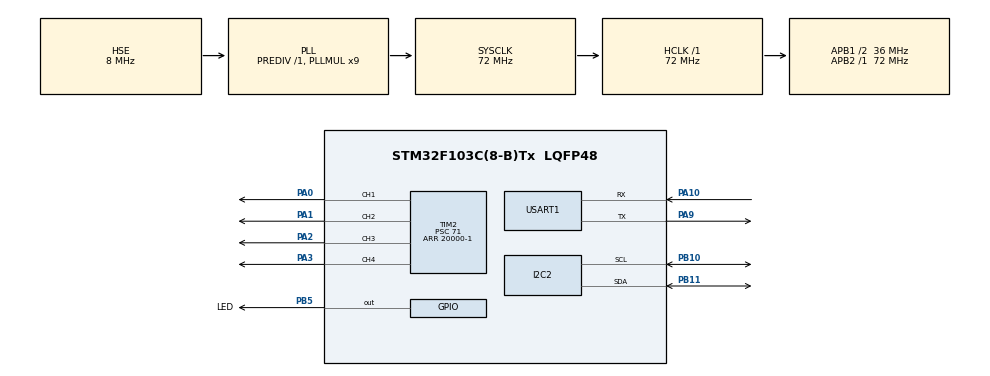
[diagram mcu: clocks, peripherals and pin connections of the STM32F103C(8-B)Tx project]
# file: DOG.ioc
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Dma.Request0=USART1_TX
Dma.Request1=USART1_RX
Dma.USART1_RX.1.Direction=DMA_PERIPH_TO_MEMORY
Dma.USART1_RX.1.Instance=DMA1_Channel5
Dma.USART1_RX.1.MemDataAlignment=DMA_MDATAALIGN_BYTE
Dma.USART1_RX.1.MemInc=DMA_MINC_ENABLE
Dma.USART1_RX.1.Mode=DMA_NORMAL
Dma.USART1_RX.1.PeriphDataAlignment=DMA_PDATAALIGN_BYTE
Dma.USART1_RX.1.PeriphInc=DMA_PINC_DISABLE
Dma.USART1_RX.1.Priority=DMA_PRIORITY_LOW
Dma.USART1_TX.0.Direction=DMA_MEMORY_TO_PERIPH
Dma.USART1_TX.0.Instance=DMA1_Channel4
Dma.USART1_TX.0.MemDataAlignment=DMA_MDATAALIGN_BYTE
Dma.USART1_TX.0.MemInc=DMA_MINC_ENABLE
Dma.USART1_TX.0.Mode=DMA_NORMAL
Dma.USART1_TX.0.PeriphDataAlignment=DMA_PDATAALIGN_BYTE
Dma.USART1_TX.0.PeriphInc=DMA_PINC_DISABLE
Dma.USART1_TX.0.Priority=DMA_PRIORITY_LOW
Mcu.Family=STM32F1
Mcu.Name=STM32F103C(8-B)Tx
Mcu.Package=LQFP48
NVIC.DMA1_Channel4_IRQn=true\:0\:0\:false\:false\:true\:false\:true\:true
NVIC.DMA1_Channel5_IRQn=true\:0\:0\:false\:false\:true\:false\:true\:true
NVIC.PriorityGroup=NVIC_PRIORITYGROUP_4
NVIC.USART1_IRQn=true\:0\:0\:false\:false\:true\:true\:true\:true
PA0-WKUP.Signal=S_TIM2_CH1_ETR
PA1.Signal=S_TIM2_CH2
PA10.Mode=Asynchronous
PA10.Signal=USART1_RX
PA13.Mode=Serial_Wire
PA13.Signal=SYS_JTMS-SWDIO
PA14.Mode=Serial_Wire
PA14.Signal=SYS_JTCK-SWCLK
PA2.Signal=S_TIM2_CH3
PA3.Signal=S_TIM2_CH4
PA9.Mode=Asynchronous
PA9.Signal=USART1_TX
PB10.Mode=I2C
PB10.Signal=I2C2_SCL
PB11.Mode=I2C
PB11.Signal=I2C2_SDA
PB5.GPIO_Label=LED
PB5.Signal=GPIO_Output
PD0-OSC_IN.Mode=HSE-External-Oscillator
PD0-OSC_IN.Signal=RCC_OSC_IN
PD1-OSC_OUT.Mode=HSE-External-Oscillator
PD1-OSC_OUT.Signal=RCC_OSC_OUT
ProjectManager.HeapSize=0x200
ProjectManager.StackSize=0x400
ProjectManager.TargetToolchain=MDK-ARM V5.32
RCC.AHBFreq_Value=72000000
RCC.APB1CLKDivider=RCC_HCLK_DIV2
RCC.APB1Freq_Value=36000000
RCC.APB1TimFreq_Value=72000000
RCC.APB2Freq_Value=72000000
RCC.APB2TimFreq_Value=72000000
RCC.HCLKFreq_Value=72000000
RCC.PLLMUL=RCC_PLL_MUL9
RCC.PLLSourceVirtual=RCC_PLLSOURCE_HSE
RCC.SYSCLKFreq_VALUE=72000000
RCC.SYSCLKSource=RCC_SYSCLKSOURCE_PLLCLK
RCC.USBFreq_Value=72000000
SH.S_TIM2_CH1_ETR.0=TIM2_CH1,PWM Generation1 CH1
SH.S_TIM2_CH2.0=TIM2_CH2,PWM Generation2 CH2
SH.S_TIM2_CH3.0=TIM2_CH3,PWM Generation3 CH3
SH.S_TIM2_CH4.0=TIM2_CH4,PWM Generation4 CH4
TIM2.Channel-PWM\ Generation1\ CH1=TIM_CHANNEL_1
TIM2.Channel-PWM\ Generation2\ CH2=TIM_CHANNEL_2
TIM2.Channel-PWM\ Generation3\ CH3=TIM_CHANNEL_3
TIM2.Channel-PWM\ Generation4\ CH4=TIM_CHANNEL_4
TIM2.Period=20000-1
TIM2.Prescaler=71
TIM2.Pulse-PWM\ Generation1\ CH1=50
TIM2.Pulse-PWM\ Generation2\ CH2=50
TIM2.Pulse-PWM\ Generation3\ CH3=50
TIM2.Pulse-PWM\ Generation4\ CH4=50
USART1.VirtualMode=VM_ASYNC
VP_TIM2_VS_ClockSourceINT.Mode=Internal
VP_TIM2_VS_ClockSourceITR.Mode=TriggerSource_ITR0
board=custom

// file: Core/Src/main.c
/* USER CODE BEGIN Header */
/**
  ******************************************************************************
  * @file           : main.c
  * @brief          : Main program body
  ******************************************************************************
  * @attention
  *
  * Copyright (c) 2024 STMicroelectronics.
  * All rights reserved.
  *
  * This software is licensed under terms that can be found in the LICENSE file
  * in the root directory of this software component.
  * If no LICENSE file comes with this software, it is provided AS-IS.
  *
  ******************************************************************************
  */
/* USER CODE END Header */
#include "main.h"
#include "dma.h"
#include "i2c.h"
#include "tim.h"
#include "usart.h"
#include "gpio.h"

/* USER CODE BEGIN Includes */
#include "stdio.h"
#include "string.h"
#include "stdlib.h"
#include "math.h"
#include "oled.h"
/* USER CODE END Includes */

/* USER CODE BEGIN PV */

uint8_t move_mode = 0 ;
uint8_t flag = 0;
#define move_delay 400
#define move_speed 4
#define MyMap(x,in_min,in_max,out_min,out_max) (x-in_min)*(out_max-out_min)/(in_max-in_min)+out_min
void Rbt_Init(void);
uint16_t angle(uint8_t angle);
void Rbt_attention(void);
void move_forward(void);
void move_behind(void);
void move_right(void);
void move_left(void);
void move_swing(void);
void move_stretch(void);
void move_sleep(void);
void move_dance(void);
void OLED_Init(void);

/* USER CODE END PV */

void SystemClock_Config(void);
/* USER CODE BEGIN PFP */
uint16_t angle(uint8_t angle)
{
  return (MyMap(angle,0,180.f,0.025f,0.125f))*TIM2->ARR;
}

void Change_Mode(uint8_t mode)

{
	move_mode = mode;
	if(move_mode == 3 || move_mode == '3')
	 {//前进
		//OLED_DrawBMP(0,0,128,8,BMP2);
		  move_forward();
		  HAL_GPIO_TogglePin(LED_GPIO_Port, LED_Pin);
		  flag=0;
		OLED_NewFrame();
    	OLED_DrawImage(0, 0, &normalImg, OLED_COLOR_NORMAL);
    	OLED_ShowFrame();
	  }
	  else if(move_mode == 4 || move_mode == '4')
	  {//后�??
		//   OLED_DrawBMP(0,0,128,8,BMP2);
		  move_behind();
		  HAL_GPIO_TogglePin(LED_GPIO_Port, LED_Pin);
		  flag=0;
		  OLED_NewFrame();
    	  OLED_DrawImage(0, 0, &normalImg, OLED_COLOR_NORMAL);
    	  OLED_ShowFrame();
	  }
	  else if(move_mode == 6 || move_mode == '6')
	  {//左转
		  move_left();
		  HAL_GPIO_TogglePin(LED_GPIO_Port, LED_Pin);
		  flag=0;
		  OLED_NewFrame();
    	  OLED_DrawImage(0, 0, &leftlookImg, OLED_COLOR_NORMAL);
    	  OLED_ShowFrame();
	  }
	  else if(move_mode == 5 || move_mode == '5')
	  {//右转
		//OLED_DrawBMP(0,0,128,8,BMP3);
		  move_right();
		  HAL_GPIO_TogglePin(LED_GPIO_Port, LED_Pin);
		  flag=0;
		  OLED_NewFrame();
    	  OLED_DrawImage(0, 0, &rightlookImg, OLED_COLOR_NORMAL);
    	  OLED_ShowFrame();
	  }
	  else if(move_mode == 2 || move_mode == '2')
	  {//立正
		//OLED_DrawBMP(0,0,128,8,BMP1);
          Rbt_attention();
		  HAL_GPIO_TogglePin(LED_GPIO_Port, LED_Pin);
		  flag=0;
	  }
	  else if(move_mode == 7 || move_mode == '7')
	  {//摇摆
		//   OLED_DrawBMP(0,0,128,8,BMP2);
		  move_swing();
		  HAL_GPIO_TogglePin(LED_GPIO_Port, LED_Pin);
		  flag=0;
	  }
	  else if(move_mode == '8' || move_mode == 8)
	  {//坐下招手
		  if(flag==0)
		  {
			//OLED_DrawBMP(0,0,128,8,BMP2);
			  move_stretch();
			//OLED_DrawBMP(0,0,128,8,BMP5);
			  HAL_GPIO_TogglePin(LED_GPIO_Port, LED_Pin);
			  flag=1;
		  }
	  }
	  else if(move_mode == 9 || move_mode == '9')
	      {//休眠
              move_sleep();
			//   OLED_DrawBMP(0,0,128,8,BMP6);
			  HAL_GPIO_TogglePin(LED_GPIO_Port, LED_Pin);
			  flag=0;
		  }
      else if(move_mode==0x0A)
	  {//唱歌跳舞//语音模块特有指令
              move_dance();
              HAL_Delay(200);
            //OLED_DrawBMP(0,0,128,8,BMP2);
              HAL_GPIO_TogglePin(LED_GPIO_Port, LED_Pin);
    /* USER CODE END WHILE */
	  }

}

/* USER CODE END PFP */

int main(void)
{

  /* MCU Configuration--------------------------------------------------------*/

  /* Reset of all peripherals, Initializes the Flash interface and the Systick. */
  HAL_Init();

  /* Configure the system clock */
  SystemClock_Config();

  /* Initialize all configured peripherals */
  MX_GPIO_Init();
  MX_DMA_Init();
  MX_TIM2_Init();
  MX_USART1_UART_Init();
  MX_I2C2_Init();
  /* USER CODE BEGIN 2 */
  HAL_TIM_PWM_Start(&htim2, TIM_CHANNEL_1);
  HAL_TIM_PWM_Start(&htim2, TIM_CHANNEL_2);
  HAL_TIM_PWM_Start(&htim2, TIM_CHANNEL_3);
  HAL_TIM_PWM_Start(&htim2, TIM_CHANNEL_4);
  Rbt_Init();
  Rbt_attention();
  HAL_Delay(20);
  OLED_Init();
  OLED_NewFrame();
  OLED_DrawImage(0, 0, &normalImg, OLED_COLOR_NORMAL);
  OLED_ShowFrame();
  /* USER CODE END 2 */

  /* Infinite loop */
  /* USER CODE BEGIN WHILE */
  while (1)
  {
	HAL_UART_Receive(&huart1, &move_mode, 1, HAL_MAX_DELAY);
	Change_Mode(move_mode);

    /* USER CODE END WHILE */

  }
}

void SystemClock_Config(void)
{
  RCC_OscInitTypeDef RCC_OscInitStruct = {0};
  RCC_ClkInitTypeDef RCC_ClkInitStruct = {0};

  /** Initializes the RCC Oscillators according to the specified parameters
  * in the RCC_OscInitTypeDef structure.
  */
  RCC_OscInitStruct.OscillatorType = RCC_OSCILLATORTYPE_HSE;
  RCC_OscInitStruct.HSEState = RCC_HSE_ON;
  RCC_OscInitStruct.HSEPredivValue = RCC_HSE_PREDIV_DIV1;
  RCC_OscInitStruct.HSIState = RCC_HSI_ON;
  RCC_OscInitStruct.PLL.PLLState = RCC_PLL_ON;
  RCC_OscInitStruct.PLL.PLLSource = RCC_PLLSOURCE_HSE;
  RCC_OscInitStruct.PLL.PLLMUL = RCC_PLL_MUL9;
  if (HAL_RCC_OscConfig(&RCC_OscInitStruct) != HAL_OK)
  {
    Error_Handler();
  }

  /** Initializes the CPU, AHB and APB buses clocks
  */
  RCC_ClkInitStruct.ClockType = RCC_CLOCKTYPE_HCLK|RCC_CLOCKTYPE_SYSCLK
                              |RCC_CLOCKTYPE_PCLK1|RCC_CLOCKTYPE_PCLK2;
  RCC_ClkInitStruct.SYSCLKSource = RCC_SYSCLKSOURCE_PLLCLK;
  RCC_ClkInitStruct.AHBCLKDivider = RCC_SYSCLK_DIV1;
  RCC_ClkInitStruct.APB1CLKDivider = RCC_HCLK_DIV2;
  RCC_ClkInitStruct.APB2CLKDivider = RCC_HCLK_DIV1;

  if (HAL_RCC_ClockConfig(&RCC_ClkInitStruct, FLASH_LATENCY_2) != HAL_OK)
  {
    Error_Handler();
  }
}

/* USER CODE BEGIN 4 */
void Rbt_Init(void)
{
    __HAL_TIM_SetCompare(&htim2, TIM_CHANNEL_1,angle(15));
    __HAL_TIM_SetCompare(&htim2, TIM_CHANNEL_3,angle(160));
    HAL_Delay(100);
    __HAL_TIM_SetCompare(&htim2, TIM_CHANNEL_2,angle(167));
    __HAL_TIM_SetCompare(&htim2, TIM_CHANNEL_4,angle(20));
	HAL_Delay(100);
}
void Rbt_attention(void)
{
    __HAL_TIM_SetCompare(&htim2, TIM_CHANNEL_1,angle(90));
    __HAL_TIM_SetCompare(&htim2, TIM_CHANNEL_2,angle(90));
    __HAL_TIM_SetCompare(&htim2, TIM_CHANNEL_3,angle(90));
    __HAL_TIM_SetCompare(&htim2, TIM_CHANNEL_4,angle(90));
    HAL_Delay(100);
}
void move_forward(void)
{
	int i=0;
	for(i=0;i<5;i++)
	{
	__HAL_TIM_SetCompare(&htim2, TIM_CHANNEL_1,angle(135));
	__HAL_TIM_SetCompare(&htim2, TIM_CHANNEL_2,angle(45));
	HAL_Delay(move_delay);
	__HAL_TIM_SetCompare(&htim2, TIM_CHANNEL_3,angle(135));
	__HAL_TIM_SetCompare(&htim2, TIM_CHANNEL_4,angle(45));
	HAL_Delay(move_delay);
	__HAL_TIM_SetCompare(&htim2, TIM_CHANNEL_1,angle(90));
	__HAL_TIM_SetCompare(&htim2, TIM_CHANNEL_4,angle(90));
	HAL_Delay(move_delay);
	__HAL_TIM_SetCompare(&htim2, TIM_CHANNEL_2,angle(90));
	__HAL_TIM_SetCompare(&htim2, TIM_CHANNEL_3,angle(90));

	HAL_Delay(move_delay);
	__HAL_TIM_SetCompare(&htim2, TIM_CHANNEL_3,angle(45));
	__HAL_TIM_SetCompare(&htim2, TIM_CHANNEL_4,angle(135));
	HAL_Delay(move_delay);
	__HAL_TIM_SetCompare(&htim2, TIM_CHANNEL_1,angle(45));
	__HAL_TIM_SetCompare(&htim2, TIM_CHANNEL_2,angle(135));
	HAL_Delay(move_delay);
	__HAL_TIM_SetCompare(&htim2, TIM_CHANNEL_3,angle(90));
	__HAL_TIM_SetCompare(&htim2, TIM_CHANNEL_4,angle(90));
	HAL_Delay(move_delay);
	__HAL_TIM_SetCompare(&htim2, TIM_CHANNEL_1,angle(90));
	__HAL_TIM_SetCompare(&htim2, TIM_CHANNEL_2,angle(90));
	HAL_Delay(move_delay);
	}
}

void move_behind(void)
{
	int i=0;
	for(i=0;i<5;i++)
	{
	__HAL_TIM_SetCompare(&htim2, TIM_CHANNEL_1,angle(45));
	__HAL_TIM_SetCompare(&htim2, TIM_CHANNEL_2,angle(135));
	HAL_Delay(move_delay);
	__HAL_TIM_SetCompare(&htim2, TIM_CHANNEL_3,angle(45));
	__HAL_TIM_SetCompare(&htim2, TIM_CHANNEL_4,angle(135));
	HAL_Delay(move_delay);
	__HAL_TIM_SetCompare(&htim2, TIM_CHANNEL_1,angle(90));
	__HAL_TIM_SetCompare(&htim2, TIM_CHANNEL_2,angle(90));
	HAL_Delay(move_delay);
	__HAL_TIM_SetCompare(&htim2, TIM_CHANNEL_3,angle(90));
	__HAL_TIM_SetCompare(&htim2, TIM_CHANNEL_4,angle(90));

	HAL_Delay(move_delay);
	__HAL_TIM_SetCompare(&htim2, TIM_CHANNEL_3,angle(135));
	__HAL_TIM_SetCompare(&htim2, TIM_CHANNEL_4,angle(45));
	HAL_Delay(move_delay);
	__HAL_TIM_SetCompare(&htim2, TIM_CHANNEL_1,angle(135));
	__HAL_TIM_SetCompare(&htim2, TIM_CHANNEL_2,angle(45));
	HAL_Delay(move_delay);
	}
}

void move_right(void)
{
	__HAL_TIM_SetCompare(&htim2, TIM_CHANNEL_1,angle(45));
	__HAL_TIM_SetCompare(&htim2, TIM_CHANNEL_4,angle(45));
	HAL_Delay(move_delay);
	__HAL_TIM_SetCompare(&htim2, TIM_CHANNEL_2,angle(135));
	__HAL_TIM_SetCompare(&htim2, TIM_CHANNEL_3,angle(135));
	HAL_Delay(move_delay);
	__HAL_TIM_SetCompare(&htim2, TIM_CHANNEL_1,angle(90));
	__HAL_TIM_SetCompare(&htim2, TIM_CHANNEL_4,angle(90));
	HAL_Delay(move_delay);
	__HAL_TIM_SetCompare(&htim2, TIM_CHANNEL_2,angle(90));
	__HAL_TIM_SetCompare(&htim2, TIM_CHANNEL_3,angle(90));
	HAL_Delay(move_delay);
	__HAL_TIM_SetCompare(&htim2, TIM_CHANNEL_1,angle(45));
	__HAL_TIM_SetCompare(&htim2, TIM_CHANNEL_4,angle(45));
	HAL_Delay(move_delay);
	__HAL_TIM_SetCompare(&htim2, TIM_CHANNEL_2,angle(135));
	__HAL_TIM_SetCompare(&htim2, TIM_CHANNEL_3,angle(135));
	HAL_Delay(move_delay);
	__HAL_TIM_SetCompare(&htim2, TIM_CHANNEL_1,angle(90));
	__HAL_TIM_SetCompare(&htim2, TIM_CHANNEL_4,angle(90));
	HAL_Delay(move_delay);
	__HAL_TIM_SetCompare(&htim2, TIM_CHANNEL_2,angle(90));
	__HAL_TIM_SetCompare(&htim2, TIM_CHANNEL_3,angle(90));
	HAL_Delay(move_delay);
}

void move_left(void)
{
	__HAL_TIM_SetCompare(&htim2, TIM_CHANNEL_2,angle(135));
	__HAL_TIM_SetCompare(&htim2, TIM_CHANNEL_3,angle(135));
	HAL_Delay(move_delay);
	__HAL_TIM_SetCompare(&htim2, TIM_CHANNEL_1,angle(45));
	__HAL_TIM_SetCompare(&htim2, TIM_CHANNEL_4,angle(45));
	HAL_Delay(move_delay);
	__HAL_TIM_SetCompare(&htim2, TIM_CHANNEL_2,angle(90));
	__HAL_TIM_SetCompare(&htim2, TIM_CHANNEL_3,angle(90));
	HAL_Delay(move_delay);
	__HAL_TIM_SetCompare(&htim2, TIM_CHANNEL_1,angle(90));
	__HAL_TIM_SetCompare(&htim2, TIM_CHANNEL_4,angle(90));
	HAL_Delay(move_delay);
	__HAL_TIM_SetCompare(&htim2, TIM_CHANNEL_2,angle(135));
	__HAL_TIM_SetCompare(&htim2, TIM_CHANNEL_3,angle(135));
	HAL_Delay(move_delay);
	__HAL_TIM_SetCompare(&htim2, TIM_CHANNEL_1,angle(45));
	__HAL_TIM_SetCompare(&htim2, TIM_CHANNEL_4,angle(45));
	HAL_Delay(move_delay);
	__HAL_TIM_SetCompare(&htim2, TIM_CHANNEL_2,angle(90));
	__HAL_TIM_SetCompare(&htim2, TIM_CHANNEL_3,angle(90));
	HAL_Delay(move_delay);
	__HAL_TIM_SetCompare(&htim2, TIM_CHANNEL_1,angle(90));
	__HAL_TIM_SetCompare(&htim2, TIM_CHANNEL_4,angle(90));
	HAL_Delay(move_delay);
}

void move_swing(void)
{
	__HAL_TIM_SetCompare(&htim2, TIM_CHANNEL_1,angle(130));
	__HAL_TIM_SetCompare(&htim2, TIM_CHANNEL_2,angle(130));
	__HAL_TIM_SetCompare(&htim2, TIM_CHANNEL_3,angle(50));
	__HAL_TIM_SetCompare(&htim2, TIM_CHANNEL_4,angle(50));
	HAL_Delay(200);
	__HAL_TIM_SetCompare(&htim2, TIM_CHANNEL_1,angle(50));
	__HAL_TIM_SetCompare(&htim2, TIM_CHANNEL_2,angle(50));
	__HAL_TIM_SetCompare(&htim2, TIM_CHANNEL_3,angle(130));
	__HAL_TIM_SetCompare(&htim2, TIM_CHANNEL_4,angle(130));
	HAL_Delay(200);
	__HAL_TIM_SetCompare(&htim2, TIM_CHANNEL_1,angle(130));
	__HAL_TIM_SetCompare(&htim2, TIM_CHANNEL_2,angle(130));
	__HAL_TIM_SetCompare(&htim2, TIM_CHANNEL_3,angle(50));
	__HAL_TIM_SetCompare(&htim2, TIM_CHANNEL_4,angle(50));
	HAL_Delay(200);
	__HAL_TIM_SetCompare(&htim2, TIM_CHANNEL_1,angle(50));
	__HAL_TIM_SetCompare(&htim2, TIM_CHANNEL_2,angle(50));
	__HAL_TIM_SetCompare(&htim2, TIM_CHANNEL_3,angle(130));
	__HAL_TIM_SetCompare(&htim2, TIM_CHANNEL_4,angle(130));
	HAL_Delay(200);

}

void move_stretch(void){
	__HAL_TIM_SetCompare(&htim2, TIM_CHANNEL_1,angle(90));
	__HAL_TIM_SetCompare(&htim2, TIM_CHANNEL_2,angle(90));
	__HAL_TIM_SetCompare(&htim2, TIM_CHANNEL_3,angle(90));
	__HAL_TIM_SetCompare(&htim2, TIM_CHANNEL_4,angle(90));
	if(TIM2->CCR1<angle(155) && TIM2->CCR3>angle(25)){
		for(uint8_t i=0;i<70;i++){
			__HAL_TIM_SetCompare(&htim2, TIM_CHANNEL_1,angle(90+i));
			__HAL_TIM_SetCompare(&htim2, TIM_CHANNEL_3,angle(90-i));
			HAL_Delay(move_speed);
		}
		HAL_Delay(1000);
		for(uint8_t i=0;i<70;i++){
			__HAL_TIM_SetCompare(&htim2, TIM_CHANNEL_1,angle(160-i));
			__HAL_TIM_SetCompare(&htim2, TIM_CHANNEL_3,angle(20+i));
			HAL_Delay(move_speed);
		}
		for(uint8_t i=0;i<65;i++){
			__HAL_TIM_SetCompare(&htim2, TIM_CHANNEL_2,angle(90+i));
			__HAL_TIM_SetCompare(&htim2, TIM_CHANNEL_4,angle(90-i));
			HAL_Delay(move_speed);
		}
		for(uint8_t i=0;i<20;i++){
			__HAL_TIM_SetCompare(&htim2, TIM_CHANNEL_1,angle(90-i));
			__HAL_TIM_SetCompare(&htim2, TIM_CHANNEL_3,angle(90+i));
			HAL_Delay(move_speed);
		}
		HAL_Delay(1000);
		__HAL_TIM_SetCompare(&htim2, TIM_CHANNEL_1,angle(140));
		HAL_Delay(1000);
		__HAL_TIM_SetCompare(&htim2, TIM_CHANNEL_1,angle(178));
		HAL_Delay(500);
		__HAL_TIM_SetCompare(&htim2, TIM_CHANNEL_1,angle(140));
		HAL_Delay(500);
		__HAL_TIM_SetCompare(&htim2, TIM_CHANNEL_1,angle(178));
		HAL_Delay(500);
		__HAL_TIM_SetCompare(&htim2, TIM_CHANNEL_1,angle(140));
		HAL_Delay(500);
		__HAL_TIM_SetCompare(&htim2, TIM_CHANNEL_1,angle(70));
	}
}

void move_sleep(void){
	if(TIM2->CCR3<angle(160) && TIM2->CCR1>angle(20)){
		for(uint8_t i=0;i<75;i++){
			__HAL_TIM_SetCompare(&htim2, TIM_CHANNEL_1,angle(90-i));
			__HAL_TIM_SetCompare(&htim2, TIM_CHANNEL_3,angle(90+i));
			HAL_Delay(move_speed);
		}
	}
	if(TIM2->CCR2<angle(160) && TIM2->CCR4>angle(20)){
		for(uint8_t i=0;i<75;i++){
			__HAL_TIM_SetCompare(&htim2, TIM_CHANNEL_2,angle(90+i));
			__HAL_TIM_SetCompare(&htim2, TIM_CHANNEL_4,angle(90-i));
			HAL_Delay(move_speed);
		}
	}

}
void move_dance(void)
{
    __HAL_TIM_SetCompare(&htim2, TIM_CHANNEL_1,angle(90));
    __HAL_TIM_SetCompare(&htim2, TIM_CHANNEL_2,angle(90));
    __HAL_TIM_SetCompare(&htim2, TIM_CHANNEL_3,angle(90));
    __HAL_TIM_SetCompare(&htim2, TIM_CHANNEL_4,angle(90));
    if(TIM2->CCR1<angle(160) && TIM2->CCR2<angle(160)){//当在目标位置之外，则执行
        for(uint8_t i=0;i<75;i++){
            __HAL_TIM_SetCompare(&htim2, TIM_CHANNEL_1,angle(90+i));
            __HAL_TIM_SetCompare(&htim2, TIM_CHANNEL_2,angle(90+i));
            HAL_Delay(move_speed);
        }
        for(uint8_t i=0;i<75;i++){
            __HAL_TIM_SetCompare(&htim2, TIM_CHANNEL_1,angle(165-i));
            __HAL_TIM_SetCompare(&htim2, TIM_CHANNEL_2,angle(165-i));
            HAL_Delay(move_speed);
        }
    }
    if(TIM2->CCR3>angle(20) && TIM2->CCR4>angle(20)){
        for(uint8_t i=0;i<75;i++){
            __HAL_TIM_SetCompare(&htim2, TIM_CHANNEL_3,angle(90-i));
            __HAL_TIM_SetCompare(&htim2, TIM_CHANNEL_4,angle(90-i));
            HAL_Delay(move_speed);
        }
        for(uint8_t i=0;i<75;i++){
            __HAL_TIM_SetCompare(&htim2, TIM_CHANNEL_3,angle(15+i));
            __HAL_TIM_SetCompare(&htim2, TIM_CHANNEL_4,angle(15+i));
            HAL_Delay(move_speed);
        }
    }
}

/* USER CODE END 4 */

void Error_Handler(void)
{
  __disable_irq();
  while (1)
  {
  }
}
